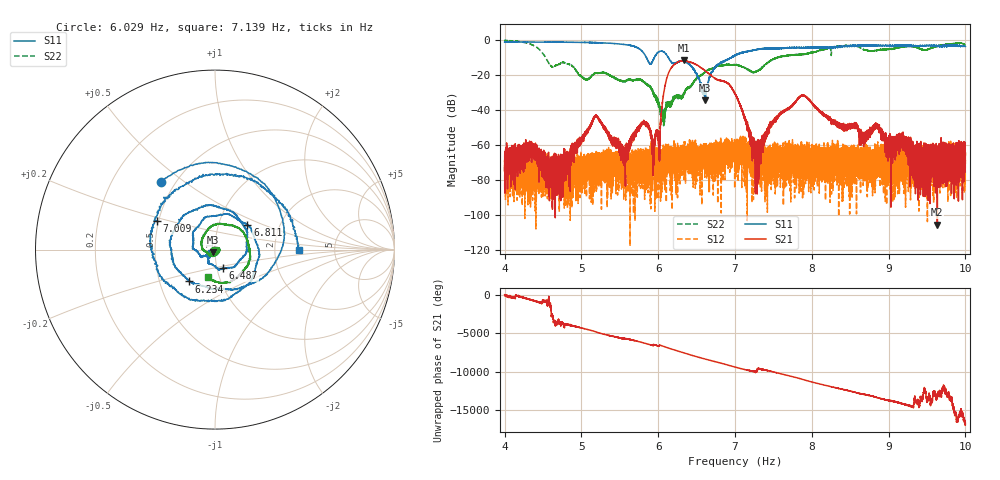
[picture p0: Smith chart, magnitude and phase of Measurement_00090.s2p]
!Created with skrf (http://scikit-rf.org).
# Hz S RI R 50.0
!freq ReS11 ImS11 ReS21 ImS21 ReS12 ImS12 ReS22 ImS22
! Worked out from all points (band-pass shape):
!   14001 points, 4 Hz to 10 Hz, reference 50 ohm
!   highest |S21| = -11.56 dB at 6.338 Hz (marker M1); lowest = -105.3 dB at 9.635 Hz (marker M2)
!   |S21| within 3 dB of the highest: 6.195 Hz to 6.519 Hz (324.4 mHz wide, 5.1 % of centre)
!   lowest |S11| = -34.3 dB at 6.612 Hz (marker M3), VSWR 1.04, Z = 48.9 - j1.57 ohm
!   |S11| at or under -10 dB: 5.847 Hz to 5.949 Hz (101.8 mHz wide, 1.73 % of centre); 6.134 Hz to 6.94 Hz (806.9 mHz wide, 12.3 % of centre); 6.940446 Hz to 6.95142 Hz (10.97 mHz wide, 0.158 % of centre) (the widest 3 of 8)
!   |S22| runs from -48.9 to -0.2 dB; largest |S21 - S12| = 0.26
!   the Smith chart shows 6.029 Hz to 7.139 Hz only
!   S11 on the Smith chart (normalised r, x): 6.029 Hz: 0.42, +0.41; 6.234 Hz: 0.71, -0.26; 6.487 Hz: 1.07, -0.23; 6.811 Hz: 1.37, +0.40; 7.009 Hz: 0.49, +0.18; 7.139 Hz: 2.74, -0.02
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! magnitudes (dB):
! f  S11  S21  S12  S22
! 4 Hz  -1.1  -71.8  -69.5  -0.2
! 4.729 Hz  -1.1  -79.7  -70.7  -13.3
! 5 Hz  -1.3  -55.6  -66.6  -20.8
! 5.191 Hz  -1.4  -42.9  -71.1  -18.8
! 5.551 Hz  -2.4  -69.3  -90.8  -23.3
! 5.798 Hz  -6.6  -47.3  -65.1  -23.6
! 6 Hz  -6.9  -55.2  -71.3  -35.5
! 6.029 Hz  -6.3  -47.8  -65.6  -39.4
! 6.106 Hz  -8.2  -22.6  -64.1  -37.3
! 6.234 Hz  -12.8  -13.2  -72.1  -32.0
! 6.338 Hz  -12.0  -11.6  -61.5  -30.5
! 6.487 Hz  -18.9  -13.8  -66.2  -22.3
! 6.612 Hz  -34.3  -17.5  -70.4  -18.1
! 6.811 Hz  -12.9  -23.1  -58.5  -14.6
! 7 Hz  -8.7  -30.6  -72.8  -14.0
! 7.009 Hz  -8.8  -31.4  -62.1  -14.1
! 7.139 Hz  -6.6  -45.8  -61.8  -16.1
! 7.293 Hz  -5.2  -60.5  -65.8  -17.4
! 8 Hz  -4.3  -35.7  -66.0  -6.9
! 9 Hz  -3.2  -57.9  -76.0  -5.1
! 9.635 Hz  -3.6  -105.3  -69.5  -3.4
! 10 Hz  -3.7  -65.4  -68.8  -3.1
